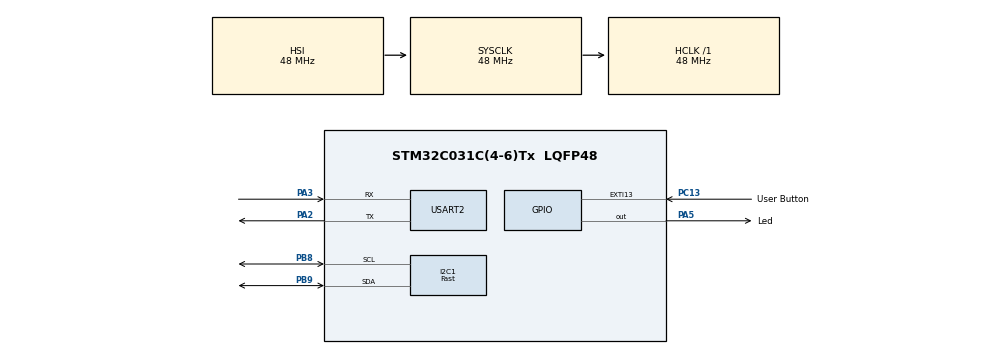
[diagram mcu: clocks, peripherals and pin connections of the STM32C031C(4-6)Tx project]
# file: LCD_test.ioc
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I2C1.I2C_Speed_Mode=I2C_Fast
I2C1.Timing=0x2010091A
Mcu.Family=STM32C0
Mcu.Name=STM32C031C(4-6)Tx
Mcu.Package=LQFP48
NVIC.EXTI4_15_IRQn=true\:0\:0\:false\:false\:true\:true\:true\:true
PA13.Mode=Serial_Wire
PA13.Signal=DEBUG_SWDIO
PA14-BOOT0.Mode=Serial_Wire
PA14-BOOT0.Signal=DEBUG_SWCLK
PA2.Mode=Asynchronous
PA2.Signal=USART2_TX
PA3.Mode=Asynchronous
PA3.Signal=USART2_RX
PA5.GPIO_Label=Led
PA5.GPIO_Speed=GPIO_SPEED_FREQ_VERY_HIGH
PA5.PinState=GPIO_PIN_SET
PA5.Signal=GPIO_Output
PB6.Signal=USART1_TX
PB7.Signal=USART1_RX
PB8.Mode=I2C
PB8.Signal=I2C1_SCL
PB9.Mode=I2C
PB9.Signal=I2C1_SDA
PC13.GPIO_Label=User Button
PC13.Signal=GPXTI13
PC14-OSCX_IN\ (PC14).Mode=LSE-External-Oscillator
PC14-OSCX_IN\ (PC14).Signal=RCC_OSCX_IN
PC15-OSCX_OUT\ (PC15).Mode=LSE-External-Oscillator
PC15-OSCX_OUT\ (PC15).Signal=RCC_OSCX_OUT
PF0-OSC_IN\ (PF0).Mode=HSE-External-Oscillator
PF0-OSC_IN\ (PF0).Signal=RCC_OSC_IN
PF1-OSC_OUT\ (PF1).Mode=HSE-External-Oscillator
PF1-OSC_OUT\ (PF1).Signal=RCC_OSC_OUT
ProjectManager.HeapSize=0x200
ProjectManager.StackSize=0x400
ProjectManager.TargetToolchain=STM32CubeIDE
RCC.ADCFreq_Value=48000000
RCC.AHBFreq_Value=48000000
RCC.CortexFreq_Value=48000000
RCC.EXTERNAL_CLOCK_VALUE=12288000
RCC.HCLKFreq_Value=48000000
RCC.HSE_VALUE=48000000
RCC.HSISYSCLKDivider=RCC_HSI_DIV1
RCC.HSI_VALUE=48000000
RCC.SYSCLKFreq_VALUE=48000000
USART2.VirtualMode-Asynchronous=VM_ASYNC
board=NUCLEO-C031C6

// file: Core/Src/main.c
/* USER CODE BEGIN Header */
/**
  ******************************************************************************
  * @file           : main.c
  * @brief          : Main program body
  ******************************************************************************
  * @attention
  *
  * Copyright (c) 2024 STMicroelectronics.
  * All rights reserved.
  *
  * This software is licensed under terms that can be found in the LICENSE file
  * in the root directory of this software component.
  * If no LICENSE file comes with this software, it is provided AS-IS.
  *
  ******************************************************************************
  */
/* USER CODE END Header */
#include "main.h"

/* USER CODE BEGIN Includes */
#include <string.h>
#include <stdio.h>
#include "LCD_I2C.h"

/* USER CODE END Includes */

/* USER CODE BEGIN PD */
#define LCD_ADDRESS 0x20
#define MAX_LENGTH 25
/* USER CODE END PD */

I2C_HandleTypeDef hi2c1;

UART_HandleTypeDef huart2;

/* USER CODE BEGIN PV */
uint8_t buf[MAX_LENGTH];
LCD_HandleTypeDef hlcd;

/* USER CODE END PV */

void SystemClock_Config(void);
static void MX_GPIO_Init(void);
static void MX_I2C1_Init(void);
static void MX_USART2_UART_Init(void);
/* USER CODE BEGIN PFP */
void printHalReturn(HAL_StatusTypeDef);

/* USER CODE END PFP */

int main(void)
{

  /* MCU Configuration--------------------------------------------------------*/

  /* Reset of all peripherals, Initializes the Flash interface and the Systick. */
  HAL_Init();

  /* USER CODE BEGIN Init */
  uint8_t currentRow = 0;
  char buffer[21] = {0};
  uint8_t count = 0;

  /* USER CODE END Init */

  /* Configure the system clock */
  SystemClock_Config();

  /* Initialize all configured peripherals */
  MX_GPIO_Init();
  MX_I2C1_Init();
  MX_USART2_UART_Init();
  /* USER CODE BEGIN 2 */
  HAL_StatusTypeDef returnVal;

  returnVal = LCD_Init(&hlcd, &hi2c1, LCD_ADDRESS);
  printHalReturn(returnVal);
  /* USER CODE END 2 */

  /* Infinite loop */
  /* USER CODE BEGIN WHILE */
  while (1)
  {
	  snprintf(buffer, 21, "Hello World count:%d", count);
	  LCD_SetCursor(&hlcd, 0, currentRow);
	  LCD_Print(&hlcd, buffer);
	  currentRow++;
	  count++;

	  if(currentRow > 3) {
		  currentRow = 0;
		  HAL_Delay(500);
		  LCD_Clear(&hlcd);
	  }

	  HAL_Delay(1000);
    /* USER CODE END WHILE */

  }
}

void SystemClock_Config(void)
{
  RCC_OscInitTypeDef RCC_OscInitStruct = {0};
  RCC_ClkInitTypeDef RCC_ClkInitStruct = {0};

  /** Initializes the RCC Oscillators according to the specified parameters
  * in the RCC_OscInitTypeDef structure.
  */
  RCC_OscInitStruct.OscillatorType = RCC_OSCILLATORTYPE_HSI;
  RCC_OscInitStruct.HSIState = RCC_HSI_ON;
  RCC_OscInitStruct.HSIDiv = RCC_HSI_DIV1;
  RCC_OscInitStruct.HSICalibrationValue = RCC_HSICALIBRATION_DEFAULT;
  if (HAL_RCC_OscConfig(&RCC_OscInitStruct) != HAL_OK)
  {
    Error_Handler();
  }

  /** Initializes the CPU, AHB and APB buses clocks
  */
  RCC_ClkInitStruct.ClockType = RCC_CLOCKTYPE_HCLK|RCC_CLOCKTYPE_SYSCLK
                              |RCC_CLOCKTYPE_PCLK1;
  RCC_ClkInitStruct.SYSCLKSource = RCC_SYSCLKSOURCE_HSI;
  RCC_ClkInitStruct.SYSCLKDivider = RCC_SYSCLK_DIV1;
  RCC_ClkInitStruct.AHBCLKDivider = RCC_HCLK_DIV1;
  RCC_ClkInitStruct.APB1CLKDivider = RCC_APB1_DIV1;

  if (HAL_RCC_ClockConfig(&RCC_ClkInitStruct, FLASH_LATENCY_1) != HAL_OK)
  {
    Error_Handler();
  }
}

static void MX_I2C1_Init(void)
{

  hi2c1.Instance = I2C1;
  hi2c1.Init.Timing = 0x2010091A;
  hi2c1.Init.OwnAddress1 = 0;
  hi2c1.Init.AddressingMode = I2C_ADDRESSINGMODE_7BIT;
  hi2c1.Init.DualAddressMode = I2C_DUALADDRESS_DISABLE;
  hi2c1.Init.OwnAddress2 = 0;
  hi2c1.Init.OwnAddress2Masks = I2C_OA2_NOMASK;
  hi2c1.Init.GeneralCallMode = I2C_GENERALCALL_DISABLE;
  hi2c1.Init.NoStretchMode = I2C_NOSTRETCH_DISABLE;
  if (HAL_I2C_Init(&hi2c1) != HAL_OK)
  {
    Error_Handler();
  }

  /** Configure Analogue filter
  */
  if (HAL_I2CEx_ConfigAnalogFilter(&hi2c1, I2C_ANALOGFILTER_ENABLE) != HAL_OK)
  {
    Error_Handler();
  }

  /** Configure Digital filter
  */
  if (HAL_I2CEx_ConfigDigitalFilter(&hi2c1, 0) != HAL_OK)
  {
    Error_Handler();
  }

}

static void MX_USART2_UART_Init(void)
{

  huart2.Instance = USART2;
  huart2.Init.BaudRate = 115200;
  huart2.Init.WordLength = UART_WORDLENGTH_8B;
  huart2.Init.StopBits = UART_STOPBITS_1;
  huart2.Init.Parity = UART_PARITY_NONE;
  huart2.Init.Mode = UART_MODE_TX_RX;
  huart2.Init.HwFlowCtl = UART_HWCONTROL_NONE;
  huart2.Init.OverSampling = UART_OVERSAMPLING_16;
  huart2.Init.OneBitSampling = UART_ONE_BIT_SAMPLE_DISABLE;
  huart2.Init.ClockPrescaler = UART_PRESCALER_DIV1;
  huart2.AdvancedInit.AdvFeatureInit = UART_ADVFEATURE_NO_INIT;
  if (HAL_UART_Init(&huart2) != HAL_OK)
  {
    Error_Handler();
  }

}

static void MX_GPIO_Init(void)
{
  GPIO_InitTypeDef GPIO_InitStruct = {0};

  /* GPIO Ports Clock Enable */
  __HAL_RCC_GPIOC_CLK_ENABLE();
  __HAL_RCC_GPIOF_CLK_ENABLE();
  __HAL_RCC_GPIOA_CLK_ENABLE();
  __HAL_RCC_GPIOB_CLK_ENABLE();

  /*Configure GPIO pin Output Level */
  HAL_GPIO_WritePin(Led_GPIO_Port, Led_Pin, GPIO_PIN_SET);

  /*Configure GPIO pin : User_Button_Pin */
  GPIO_InitStruct.Pin = User_Button_Pin;
  GPIO_InitStruct.Mode = GPIO_MODE_IT_RISING;
  GPIO_InitStruct.Pull = GPIO_NOPULL;
  HAL_GPIO_Init(User_Button_GPIO_Port, &GPIO_InitStruct);

  /*Configure GPIO pin : Led_Pin */
  GPIO_InitStruct.Pin = Led_Pin;
  GPIO_InitStruct.Mode = GPIO_MODE_OUTPUT_PP;
  GPIO_InitStruct.Pull = GPIO_NOPULL;
  GPIO_InitStruct.Speed = GPIO_SPEED_FREQ_VERY_HIGH;
  HAL_GPIO_Init(Led_GPIO_Port, &GPIO_InitStruct);

  /*Configure GPIO pins : PB6 PB7 */
  GPIO_InitStruct.Pin = GPIO_PIN_6|GPIO_PIN_7;
  GPIO_InitStruct.Mode = GPIO_MODE_AF_PP;
  GPIO_InitStruct.Pull = GPIO_NOPULL;
  GPIO_InitStruct.Speed = GPIO_SPEED_FREQ_LOW;
  GPIO_InitStruct.Alternate = GPIO_AF0_USART1;
  HAL_GPIO_Init(GPIOB, &GPIO_InitStruct);

  /* EXTI interrupt init*/
  HAL_NVIC_SetPriority(EXTI4_15_IRQn, 0, 0);
  HAL_NVIC_EnableIRQ(EXTI4_15_IRQn);

}

/* USER CODE BEGIN 4 */
void printHalReturn (HAL_StatusTypeDef returnVal) {
  if (returnVal != HAL_OK) {
	  strncpy( (char*) buf, "Error Tx\r\n", MAX_LENGTH);
  }
  else {
	  strncpy( (char*)buf, "I2C Success\r\n", MAX_LENGTH);
  }
  HAL_UART_Transmit(&huart2, buf, strlen( (char*) buf), 1000);

}
/* USER CODE END 4 */

void Error_Handler(void)
{
  __disable_irq();
  while (1)
  {
  }
}
